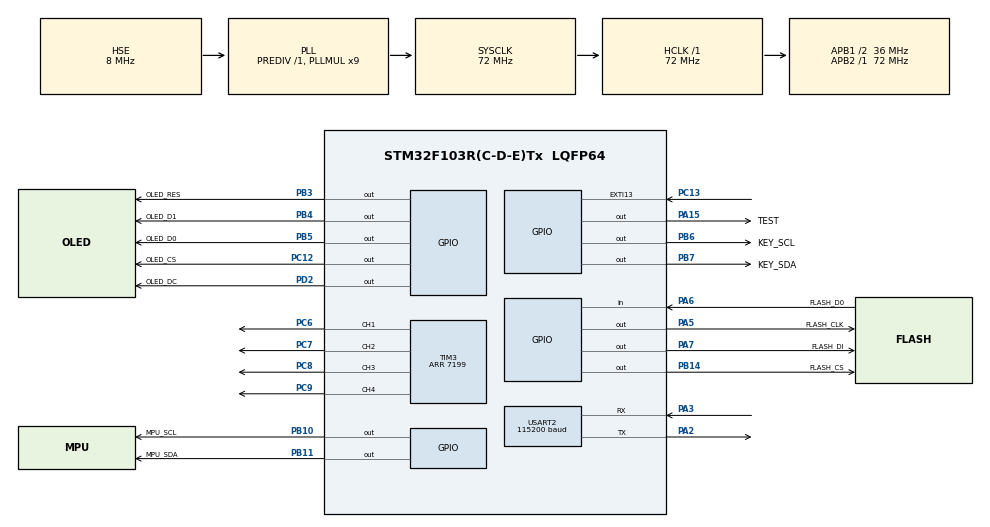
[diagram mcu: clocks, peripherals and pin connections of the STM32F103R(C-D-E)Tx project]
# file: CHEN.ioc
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Dma.Request0=USART2_TX
Dma.USART2_TX.0.Direction=DMA_MEMORY_TO_PERIPH
Dma.USART2_TX.0.Instance=DMA1_Channel7
Dma.USART2_TX.0.MemDataAlignment=DMA_MDATAALIGN_BYTE
Dma.USART2_TX.0.MemInc=DMA_MINC_ENABLE
Dma.USART2_TX.0.Mode=DMA_NORMAL
Dma.USART2_TX.0.PeriphDataAlignment=DMA_PDATAALIGN_BYTE
Dma.USART2_TX.0.PeriphInc=DMA_PINC_DISABLE
Dma.USART2_TX.0.Priority=DMA_PRIORITY_HIGH
Mcu.Family=STM32F1
Mcu.Name=STM32F103R(C-D-E)Tx
Mcu.Package=LQFP64
NVIC.DMA1_Channel7_IRQn=true\:0\:0\:true\:false\:true\:false\:true
NVIC.EXTI15_10_IRQn=true\:2\:2\:true\:false\:true\:true\:true
NVIC.PriorityGroup=NVIC_PRIORITYGROUP_2
NVIC.TIM2_IRQn=true\:2\:1\:true\:false\:true\:true\:true
NVIC.USART2_IRQn=true\:1\:2\:true\:false\:true\:true\:true
PA13.Mode=Serial_Wire
PA13.Signal=SYS_JTMS-SWDIO
PA14.Mode=Serial_Wire
PA14.Signal=SYS_JTCK-SWCLK
PA15.GPIO_Label=TEST
PA15.GPIO_Speed=GPIO_SPEED_FREQ_HIGH
PA15.PinState=GPIO_PIN_SET
PA15.Signal=GPIO_Output
PA2.Mode=Asynchronous
PA2.Signal=USART2_TX
PA3.Mode=Asynchronous
PA3.Signal=USART2_RX
PA5.GPIO_Label=FLASH_CLK
PA5.GPIO_Speed=GPIO_SPEED_FREQ_HIGH
PA5.PinState=GPIO_PIN_SET
PA5.Signal=GPIO_Output
PA6.GPIO_Label=FLASH_D0
PA6.Signal=GPIO_Input
PA7.GPIO_Label=FLASH_DI
PA7.GPIO_Speed=GPIO_SPEED_FREQ_HIGH
PA7.PinState=GPIO_PIN_SET
PA7.Signal=GPIO_Output
PB10.GPIO_Label=MPU_SCL
PB10.GPIO_ModeDefaultOutputPP=GPIO_MODE_OUTPUT_OD
PB10.GPIO_Speed=GPIO_SPEED_FREQ_HIGH
PB10.PinState=GPIO_PIN_SET
PB10.Signal=GPIO_Output
PB11.GPIO_Label=MPU_SDA
PB11.GPIO_ModeDefaultOutputPP=GPIO_MODE_OUTPUT_OD
PB11.GPIO_PuPd=GPIO_NOPULL
PB11.GPIO_Speed=GPIO_SPEED_FREQ_HIGH
PB11.PinState=GPIO_PIN_SET
PB11.Signal=GPIO_Output
PB14.GPIO_Label=FLASH_CS
PB14.GPIO_Speed=GPIO_SPEED_FREQ_HIGH
PB14.PinState=GPIO_PIN_SET
PB14.Signal=GPIO_Output
PB3.GPIO_Label=OLED_RES
PB3.GPIO_Speed=GPIO_SPEED_FREQ_HIGH
PB3.PinState=GPIO_PIN_SET
PB3.Signal=GPIO_Output
PB4.GPIO_Label=OLED_D1
PB4.GPIO_Speed=GPIO_SPEED_FREQ_HIGH
PB4.PinState=GPIO_PIN_SET
PB4.Signal=GPIO_Output
PB5.GPIO_Label=OLED_D0
PB5.GPIO_Speed=GPIO_SPEED_FREQ_HIGH
PB5.PinState=GPIO_PIN_SET
PB5.Signal=GPIO_Output
PB6.GPIO_Label=KEY_SCL
PB6.GPIO_Speed=GPIO_SPEED_FREQ_HIGH
PB6.PinState=GPIO_PIN_SET
PB6.Signal=GPIO_Output
PB7.GPIO_Label=KEY_SDA
PB7.GPIO_Speed=GPIO_SPEED_FREQ_HIGH
PB7.PinState=GPIO_PIN_SET
PB7.Signal=GPIO_Output
PC12.GPIO_Label=OLED_CS
PC12.GPIO_Speed=GPIO_SPEED_FREQ_HIGH
PC12.PinState=GPIO_PIN_SET
PC12.Signal=GPIO_Output
PC13-TAMPER-RTC.Signal=GPXTI13
PC6.Signal=S_TIM3_CH1
PC7.Signal=S_TIM3_CH2
PC8.Signal=S_TIM3_CH3
PC9.Signal=S_TIM3_CH4
PD0-OSC_IN.Mode=HSE-External-Oscillator
PD0-OSC_IN.Signal=RCC_OSC_IN
PD1-OSC_OUT.Mode=HSE-External-Oscillator
PD1-OSC_OUT.Signal=RCC_OSC_OUT
PD2.GPIO_Label=OLED_DC
PD2.GPIO_Speed=GPIO_SPEED_FREQ_HIGH
PD2.PinState=GPIO_PIN_SET
PD2.Signal=GPIO_Output
ProjectManager.HeapSize=0x200
ProjectManager.StackSize=0x400
ProjectManager.TargetToolchain=MDK-ARM V5
RCC.AHBFreq_Value=72000000
RCC.APB1CLKDivider=RCC_HCLK_DIV2
RCC.APB1Freq_Value=36000000
RCC.APB1TimFreq_Value=72000000
RCC.APB2Freq_Value=72000000
RCC.APB2TimFreq_Value=72000000
RCC.HCLKFreq_Value=72000000
RCC.PLLMUL=RCC_PLL_MUL9
RCC.PLLSourceVirtual=RCC_PLLSOURCE_HSE
RCC.SYSCLKFreq_VALUE=72000000
RCC.SYSCLKSource=RCC_SYSCLKSOURCE_PLLCLK
RCC.USBFreq_Value=72000000
SH.S_TIM3_CH1.0=TIM3_CH1,PWM Generation1 CH1
SH.S_TIM3_CH2.0=TIM3_CH2,PWM Generation2 CH2
SH.S_TIM3_CH3.0=TIM3_CH3,PWM Generation3 CH3
SH.S_TIM3_CH4.0=TIM3_CH4,PWM Generation4 CH4
TIM2.Period=4999
TIM2.Prescaler=71
TIM3.Channel-PWM\ Generation1\ CH1=TIM_CHANNEL_1
TIM3.Channel-PWM\ Generation2\ CH2=TIM_CHANNEL_2
TIM3.Channel-PWM\ Generation3\ CH3=TIM_CHANNEL_3
TIM3.Channel-PWM\ Generation4\ CH4=TIM_CHANNEL_4
TIM3.Period=7199
USART2.BaudRate=115200
USART2.VirtualMode=VM_ASYNC
VP_TIM2_VS_ClockSourceINT.Mode=Internal
VP_TIM3_VS_ClockSourceINT.Mode=Internal
board=custom

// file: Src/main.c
/* USER CODE BEGIN Header */
/**
  ******************************************************************************
  * @file           : main.c
  * @brief          : Main program body
  ******************************************************************************
  * @attention
  *
  * <h2><center>&copy; Copyright (c) 2019 STMicroelectronics.
  * All rights reserved.</center></h2>
  *
  * This software component is licensed by ST under BSD 3-Clause license,
  * the "License"; You may not use this file except in compliance with the
  * License. You may obtain a copy of the License at:
  *                        opensource.org/licenses/BSD-3-Clause
  *
  ******************************************************************************
  */
/* USER CODE END Header */

#include "main.h"

/* USER CODE BEGIN Includes */
#include "math.h"
#include "sys.h"
#include "oled.h"
#include "mpu6050.h"
#include "pid.h"
#include "anotc_v6.h"
#include "keyboard.h"
#include "menu.h"
/* USER CODE END Includes */

TIM_HandleTypeDef htim2;
TIM_HandleTypeDef htim3;

UART_HandleTypeDef huart2;
DMA_HandleTypeDef hdma_usart2_tx;

/* USER CODE BEGIN PV */
MPU6050 g_mpu6050;
ANOTC g_anotc;
HPID_CTR g_rollpid;
HPID_CTR g_pitchpid;
void (*fun)(pANOTC antoc)=NULL;//比赛项目函数指针
/* USER CODE END PV */

void SystemClock_Config(void);
static void MX_GPIO_Init(void);
static void MX_DMA_Init(void);
static void MX_TIM3_Init(void);
static void MX_USART2_UART_Init(void);
static void MX_TIM2_Init(void);

/* USER CODE BEGIN 0 */
void SetPwm(short moto1,short moto2)
{
	    if(moto1>=0)
		{
			TIM3->CCR1 = moto1;
			TIM3->CCR3 = 0;
		}
		else
		{
			TIM3->CCR3 = -moto1;
			TIM3->CCR1 = 0;
		}
		if(moto2>=0)
		{
			TIM3->CCR4 = moto2;
			TIM3->CCR2 = 0;
		}
		else
		{
			TIM3->CCR2 = -moto2;
			TIM3->CCR4 = 0;
		}
}

//按键中断
bool g_menu=false;
void HAL_GPIO_EXTI_Callback(uint16_t GPIO_Pin)
{
	if(GPIO_Pin == GPIO_PIN_13)
	{
		g_menu = !g_menu;
		if(g_menu)
		{
			KEY_Init();
		}
	}
}

void HAL_TIM_PeriodElapsedCallback(TIM_HandleTypeDef *htim)
{
	if(htim==&htim2)		//定时器3中断
	{
		ImuUpdata(0.005f);
		mpuGet_Angle(&g_mpu6050.angle);
		mpuGet_6Axis(&g_mpu6050.axis);
		if(fun)
		{
			fun(&g_anotc);
		}
		else
		{
			g_anotc.size = 0;
			ANOTC_V6_Printf(1,&g_anotc,"fff",g_mpu6050.angle.roll,g_mpu6050.angle.pitch,g_mpu6050.angle.yaw);
			ANOTC_V6_Printf(2,&g_anotc,"hhhhhh",g_mpu6050.axis.acc.x,g_mpu6050.axis.acc.y,g_mpu6050.axis.acc.z,g_mpu6050.axis.gyro.x,g_mpu6050.axis.gyro.y,g_mpu6050.axis.gyro.z);
		}
		HAL_UART_Transmit_DMA(&huart2,g_anotc.buff,g_anotc.size);
	}
}
/* USER CODE END 0 */

int main(void)
{

  /* MCU Configuration--------------------------------------------------------*/

  /* Reset of all peripherals, Initializes the Flash interface and the Systick. */
  HAL_Init();

  /* Configure the system clock */
  SystemClock_Config();

  /* Initialize all configured peripherals */
  MX_GPIO_Init();
  MX_DMA_Init();
  MX_TIM3_Init();
  MX_USART2_UART_Init();
  MX_TIM2_Init();
  /* USER CODE BEGIN 2 */
	DWT_Init();
	OLED_Init();
	while(mpu6050_init()==false);
	Mpu6050_CheclAcc();
	Mpu6050_CheckGyro();
  /* USER CODE END 2 */

  /* Infinite loop */
  /* USER CODE BEGIN WHILE */
  HAL_TIM_Base_Start_IT(&htim2);
  for(uint16_t start=DWT_Read();;)
  {
	  int i=i=4000-(DWT_Read()-start)/72000;
	  OLED_PrintfAt(0,0,"初始化中%d ",i);
	  if(i<0)
		  break;
  }
  OLED_ClearLine(0);
  HAL_TIM_PWM_Start(&htim3,TIM_CHANNEL_1);
  HAL_TIM_PWM_Start(&htim3,TIM_CHANNEL_2);
  HAL_TIM_PWM_Start(&htim3,TIM_CHANNEL_3);
  HAL_TIM_PWM_Start(&htim3,TIM_CHANNEL_4);
  while (1)
  {
	  if(g_menu)
	  {
		  Menu();
	  }
	  else
	  {
		  OLED_PrintfAt(0,0,"ROLL:%.2f  ",g_mpu6050.angle.roll);
		  OLED_PrintfAt(1,0,"PITCH:%.2f  ",g_mpu6050.angle.pitch);
	  }
    /* USER CODE END WHILE */

    /* USER CODE BEGIN 3 */
	  delay_ms(50);
  }
  /* USER CODE END 3 */
}

void SystemClock_Config(void)
{
  RCC_OscInitTypeDef RCC_OscInitStruct = {0};
  RCC_ClkInitTypeDef RCC_ClkInitStruct = {0};

  /** Initializes the CPU, AHB and APB busses clocks
  */
  RCC_OscInitStruct.OscillatorType = RCC_OSCILLATORTYPE_HSE;
  RCC_OscInitStruct.HSEState = RCC_HSE_ON;
  RCC_OscInitStruct.HSEPredivValue = RCC_HSE_PREDIV_DIV1;
  RCC_OscInitStruct.HSIState = RCC_HSI_ON;
  RCC_OscInitStruct.PLL.PLLState = RCC_PLL_ON;
  RCC_OscInitStruct.PLL.PLLSource = RCC_PLLSOURCE_HSE;
  RCC_OscInitStruct.PLL.PLLMUL = RCC_PLL_MUL9;
  if (HAL_RCC_OscConfig(&RCC_OscInitStruct) != HAL_OK)
  {
    Error_Handler();
  }
  /** Initializes the CPU, AHB and APB busses clocks
  */
  RCC_ClkInitStruct.ClockType = RCC_CLOCKTYPE_HCLK|RCC_CLOCKTYPE_SYSCLK
                              |RCC_CLOCKTYPE_PCLK1|RCC_CLOCKTYPE_PCLK2;
  RCC_ClkInitStruct.SYSCLKSource = RCC_SYSCLKSOURCE_PLLCLK;
  RCC_ClkInitStruct.AHBCLKDivider = RCC_SYSCLK_DIV1;
  RCC_ClkInitStruct.APB1CLKDivider = RCC_HCLK_DIV2;
  RCC_ClkInitStruct.APB2CLKDivider = RCC_HCLK_DIV1;

  if (HAL_RCC_ClockConfig(&RCC_ClkInitStruct, FLASH_LATENCY_2) != HAL_OK)
  {
    Error_Handler();
  }
}

static void MX_TIM2_Init(void)
{

  TIM_ClockConfigTypeDef sClockSourceConfig = {0};
  TIM_MasterConfigTypeDef sMasterConfig = {0};

  htim2.Instance = TIM2;
  htim2.Init.Prescaler = 71;
  htim2.Init.CounterMode = TIM_COUNTERMODE_UP;
  htim2.Init.Period = 4999;
  htim2.Init.ClockDivision = TIM_CLOCKDIVISION_DIV1;
  htim2.Init.AutoReloadPreload = TIM_AUTORELOAD_PRELOAD_DISABLE;
  if (HAL_TIM_Base_Init(&htim2) != HAL_OK)
  {
    Error_Handler();
  }
  sClockSourceConfig.ClockSource = TIM_CLOCKSOURCE_INTERNAL;
  if (HAL_TIM_ConfigClockSource(&htim2, &sClockSourceConfig) != HAL_OK)
  {
    Error_Handler();
  }
  sMasterConfig.MasterOutputTrigger = TIM_TRGO_RESET;
  sMasterConfig.MasterSlaveMode = TIM_MASTERSLAVEMODE_DISABLE;
  if (HAL_TIMEx_MasterConfigSynchronization(&htim2, &sMasterConfig) != HAL_OK)
  {
    Error_Handler();
  }

}

static void MX_TIM3_Init(void)
{

  TIM_ClockConfigTypeDef sClockSourceConfig = {0};
  TIM_MasterConfigTypeDef sMasterConfig = {0};
  TIM_OC_InitTypeDef sConfigOC = {0};

  htim3.Instance = TIM3;
  htim3.Init.Prescaler = 0;
  htim3.Init.CounterMode = TIM_COUNTERMODE_UP;
  htim3.Init.Period = 7199;
  htim3.Init.ClockDivision = TIM_CLOCKDIVISION_DIV1;
  htim3.Init.AutoReloadPreload = TIM_AUTORELOAD_PRELOAD_DISABLE;
  if (HAL_TIM_Base_Init(&htim3) != HAL_OK)
  {
    Error_Handler();
  }
  sClockSourceConfig.ClockSource = TIM_CLOCKSOURCE_INTERNAL;
  if (HAL_TIM_ConfigClockSource(&htim3, &sClockSourceConfig) != HAL_OK)
  {
    Error_Handler();
  }
  if (HAL_TIM_PWM_Init(&htim3) != HAL_OK)
  {
    Error_Handler();
  }
  sMasterConfig.MasterOutputTrigger = TIM_TRGO_RESET;
  sMasterConfig.MasterSlaveMode = TIM_MASTERSLAVEMODE_DISABLE;
  if (HAL_TIMEx_MasterConfigSynchronization(&htim3, &sMasterConfig) != HAL_OK)
  {
    Error_Handler();
  }
  sConfigOC.OCMode = TIM_OCMODE_PWM1;
  sConfigOC.Pulse = 0;
  sConfigOC.OCPolarity = TIM_OCPOLARITY_HIGH;
  sConfigOC.OCFastMode = TIM_OCFAST_DISABLE;
  if (HAL_TIM_PWM_ConfigChannel(&htim3, &sConfigOC, TIM_CHANNEL_1) != HAL_OK)
  {
    Error_Handler();
  }
  if (HAL_TIM_PWM_ConfigChannel(&htim3, &sConfigOC, TIM_CHANNEL_2) != HAL_OK)
  {
    Error_Handler();
  }
  if (HAL_TIM_PWM_ConfigChannel(&htim3, &sConfigOC, TIM_CHANNEL_3) != HAL_OK)
  {
    Error_Handler();
  }
  if (HAL_TIM_PWM_ConfigChannel(&htim3, &sConfigOC, TIM_CHANNEL_4) != HAL_OK)
  {
    Error_Handler();
  }
  HAL_TIM_MspPostInit(&htim3);

}

static void MX_USART2_UART_Init(void)
{

  huart2.Instance = USART2;
  huart2.Init.BaudRate = 115200;
  huart2.Init.WordLength = UART_WORDLENGTH_8B;
  huart2.Init.StopBits = UART_STOPBITS_1;
  huart2.Init.Parity = UART_PARITY_NONE;
  huart2.Init.Mode = UART_MODE_TX_RX;
  huart2.Init.HwFlowCtl = UART_HWCONTROL_NONE;
  huart2.Init.OverSampling = UART_OVERSAMPLING_16;
  if (HAL_UART_Init(&huart2) != HAL_OK)
  {
    Error_Handler();
  }

}

static void MX_DMA_Init(void)
{
  /* DMA controller clock enable */
  __HAL_RCC_DMA1_CLK_ENABLE();

  /* DMA interrupt init */
  /* DMA1_Channel7_IRQn interrupt configuration */
  HAL_NVIC_SetPriority(DMA1_Channel7_IRQn, 0, 0);
  HAL_NVIC_EnableIRQ(DMA1_Channel7_IRQn);

}

static void MX_GPIO_Init(void)
{
  GPIO_InitTypeDef GPIO_InitStruct = {0};

  /* GPIO Ports Clock Enable */
  __HAL_RCC_GPIOC_CLK_ENABLE();
  __HAL_RCC_GPIOD_CLK_ENABLE();
  __HAL_RCC_GPIOA_CLK_ENABLE();
  __HAL_RCC_GPIOB_CLK_ENABLE();

  /*Configure GPIO pin Output Level */
  HAL_GPIO_WritePin(GPIOA, FLASH_CLK_Pin|FLASH_DI_Pin|TEST_Pin, GPIO_PIN_SET);

  /*Configure GPIO pin Output Level */
  HAL_GPIO_WritePin(GPIOB, MPU_SCL_Pin|MPU_SDA_Pin|FLASH_CS_Pin|OLED_RES_Pin
                          |OLED_D1_Pin|OLED_D0_Pin|KEY_SCL_Pin|KEY_SDA_Pin, GPIO_PIN_SET);

  /*Configure GPIO pin Output Level */
  HAL_GPIO_WritePin(OLED_CS_GPIO_Port, OLED_CS_Pin, GPIO_PIN_SET);

  /*Configure GPIO pin Output Level */
  HAL_GPIO_WritePin(OLED_DC_GPIO_Port, OLED_DC_Pin, GPIO_PIN_SET);

  /*Configure GPIO pin : PC13 */
  GPIO_InitStruct.Pin = GPIO_PIN_13;
  GPIO_InitStruct.Mode = GPIO_MODE_IT_RISING;
  GPIO_InitStruct.Pull = GPIO_NOPULL;
  HAL_GPIO_Init(GPIOC, &GPIO_InitStruct);

  /*Configure GPIO pins : FLASH_CLK_Pin FLASH_DI_Pin TEST_Pin */
  GPIO_InitStruct.Pin = FLASH_CLK_Pin|FLASH_DI_Pin|TEST_Pin;
  GPIO_InitStruct.Mode = GPIO_MODE_OUTPUT_PP;
  GPIO_InitStruct.Pull = GPIO_NOPULL;
  GPIO_InitStruct.Speed = GPIO_SPEED_FREQ_HIGH;
  HAL_GPIO_Init(GPIOA, &GPIO_InitStruct);

  /*Configure GPIO pin : FLASH_D0_Pin */
  GPIO_InitStruct.Pin = FLASH_D0_Pin;
  GPIO_InitStruct.Mode = GPIO_MODE_INPUT;
  GPIO_InitStruct.Pull = GPIO_NOPULL;
  HAL_GPIO_Init(FLASH_D0_GPIO_Port, &GPIO_InitStruct);

  /*Configure GPIO pins : MPU_SCL_Pin MPU_SDA_Pin */
  GPIO_InitStruct.Pin = MPU_SCL_Pin|MPU_SDA_Pin;
  GPIO_InitStruct.Mode = GPIO_MODE_OUTPUT_OD;
  GPIO_InitStruct.Pull = GPIO_NOPULL;
  GPIO_InitStruct.Speed = GPIO_SPEED_FREQ_HIGH;
  HAL_GPIO_Init(GPIOB, &GPIO_InitStruct);

  /*Configure GPIO pins : FLASH_CS_Pin OLED_RES_Pin OLED_D1_Pin OLED_D0_Pin
                           KEY_SCL_Pin KEY_SDA_Pin */
  GPIO_InitStruct.Pin = FLASH_CS_Pin|OLED_RES_Pin|OLED_D1_Pin|OLED_D0_Pin
                          |KEY_SCL_Pin|KEY_SDA_Pin;
  GPIO_InitStruct.Mode = GPIO_MODE_OUTPUT_PP;
  GPIO_InitStruct.Pull = GPIO_NOPULL;
  GPIO_InitStruct.Speed = GPIO_SPEED_FREQ_HIGH;
  HAL_GPIO_Init(GPIOB, &GPIO_InitStruct);

  /*Configure GPIO pin : OLED_CS_Pin */
  GPIO_InitStruct.Pin = OLED_CS_Pin;
  GPIO_InitStruct.Mode = GPIO_MODE_OUTPUT_PP;
  GPIO_InitStruct.Pull = GPIO_NOPULL;
  GPIO_InitStruct.Speed = GPIO_SPEED_FREQ_HIGH;
  HAL_GPIO_Init(OLED_CS_GPIO_Port, &GPIO_InitStruct);

  /*Configure GPIO pin : OLED_DC_Pin */
  GPIO_InitStruct.Pin = OLED_DC_Pin;
  GPIO_InitStruct.Mode = GPIO_MODE_OUTPUT_PP;
  GPIO_InitStruct.Pull = GPIO_NOPULL;
  GPIO_InitStruct.Speed = GPIO_SPEED_FREQ_HIGH;
  HAL_GPIO_Init(OLED_DC_GPIO_Port, &GPIO_InitStruct);

  /* EXTI interrupt init*/
  HAL_NVIC_SetPriority(EXTI15_10_IRQn, 2, 2);
  HAL_NVIC_EnableIRQ(EXTI15_10_IRQn);

}

void Error_Handler(void)
{
}

/************************ (C) COPYRIGHT STMicroelectronics *****END OF FILE****/
